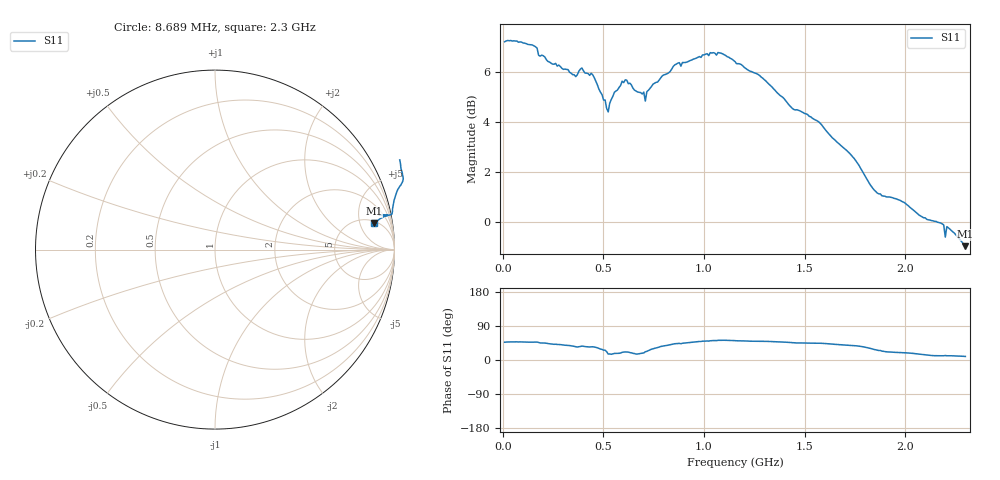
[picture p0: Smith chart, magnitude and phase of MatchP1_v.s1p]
# Hz S RI R 50.000000
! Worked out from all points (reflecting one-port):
!   299 points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, 8.689 MHz to 2.3 GHz, reference 50 ohm
!   lowest |S11| = -0.9 dB at 2.3 GHz (marker M1), VSWR 18.42, Z = 283 + j423 ohm
!   phase of S11 starts at 47 deg and turns -38 deg over the sweep
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8688963  1.562 1.672
1.624682e8  1.511 1.649
1.855351e8  1.515 1.515
3.008696e8  1.559 1.279
3.700702e8  1.624 1.109
3.931371e8  1.628 1.212
4.469599e8  1.613 1.124
5.084716e8  1.575 0.7672
5.238495e8  1.598 0.4487
5.853612e8  1.777 0.5912
6.084281e8  1.791 0.6968
6.622508e8  1.758 0.4927
6.930067e8  1.712 0.5595
7.083846e8  1.621 0.644
7.160736e8  1.677 0.7091
7.852742e8  1.577 1.13
8.698528e8  1.504 1.429
8.852308e8  1.497 1.395
1.069766e9  1.344 1.714
1.162033e9  1.311 1.601
1.292746e9  1.256 1.473
1.446525e9  1.184 1.189
1.577237e9  1.13 1.1
1.731017e9  1.066 0.8499
1.884796e9  1.036 0.4504
2.015508e9  1.024 0.3431
2.115465e9  0.9889 0.2164
2.3e9  0.885 0.146
